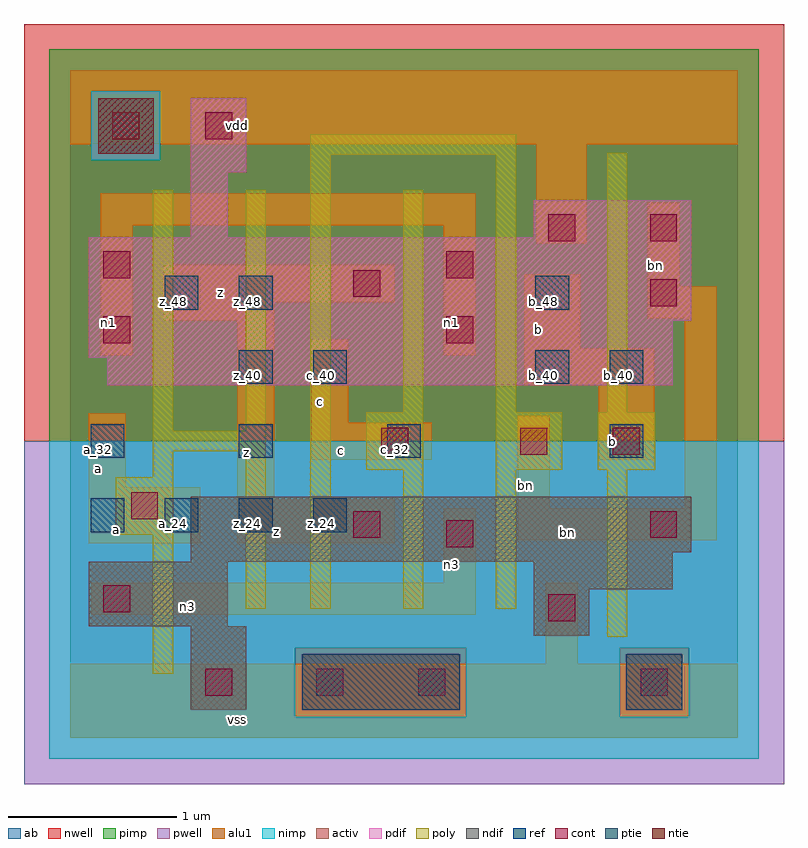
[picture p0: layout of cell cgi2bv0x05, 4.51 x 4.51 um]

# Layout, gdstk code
import gdstk
lib = gdstk.Library(unit=1e-6, precision=2.5e-09)
def R(c, l, rs):  # rectangles x0, y0, x1, y1
    for r in rs: c.add(gdstk.rectangle(r[:2], r[2:], *l))
def A(c, l, x, y, w, h, nx, ny, dx, dy):  # array of equal rectangles
    R(c, l, [(x+i*dx, y+j*dy, x+i*dx+w, y+j*dy+h) for i in range(nx) for j in range(ny)])
ndif = (3, 0)
pdif = (4, 0)
ntie = (5, 0)
ptie = (6, 0)
ref = (24, 0)
cont = (25, 0)
pwell = (41, 0)
nwell = (42, 0)
activ = (43, 0)
pimp = (44, 0)
nimp = (45, 0)
poly = (46, 0)
alu1 = (49, 0)
ab = (63, 0)

cgi2bv0x05 = lib.new_cell('cgi2bv0x05')
R(cgi2bv0x05, ndif, [(0.715,0.165,1.045,0.66), (2.75,0.605,3.08,0.88), (0.11,0.66,0.935,1.045), (2.75,0.88,3.575,1.045), (0.715,1.045,3.575,1.1), (0.715,1.1,3.685,1.43)])
R(cgi2bv0x05, pdif, [(0.22,2.09,3.575,2.255), (0.11,2.255,3.575,2.475), (0.11,2.475,3.685,2.97), (0.715,2.97,0.935,3.355), (2.75,2.97,3.685,3.19), (0.715,3.355,1.045,3.795)])
R(cgi2bv0x05, ntie, [(0.165,3.465,0.495,3.795)])
R(cgi2bv0x05, ptie, [(1.375,0.165,2.31,0.495), (3.3,0.165,3.63,0.495)])
A(cgi2bv0x05, ref, 0.12, 1.22, 0.2, 0.2, 4, 1, 0.44, 0)
A(cgi2bv0x05, ref, 0.12, 1.66, 0.2, 0.2, 3, 1, 0.88, 0)
R(cgi2bv0x05, ref, [(3.2,1.66,3.4,1.86), (1,2.1,1.2,2.3), (1.44,2.1,1.64,2.3), (2.76,2.1,2.96,2.3), (3.2,2.1,3.4,2.3), (0.56,2.54,0.76,2.74), (1,2.54,1.2,2.74), (2.76,2.54,2.96,2.74)])
R(cgi2bv0x05, cont, [(0.8,0.25,0.96,0.41), (1.46,0.25,1.62,0.41), (2.065,0.25,2.225,0.41), (3.385,0.25,3.545,0.41), (2.835,0.69,2.995,0.85), (0.195,0.745,0.355,0.905), (2.23,1.13,2.39,1.29), (1.68,1.185,1.84,1.345), (3.44,1.185,3.6,1.345), (0.36,1.295,0.52,1.455), (1.845,1.68,2.005,1.84), (2.67,1.68,2.83,1.84), (3.22,1.68,3.38,1.84), (0.195,2.34,0.355,2.5), (2.23,2.34,2.39,2.5), (3.44,2.56,3.6,2.72), (1.68,2.615,1.84,2.775), (0.195,2.725,0.355,2.885), (2.23,2.725,2.39,2.885), (2.835,2.945,2.995,3.105), (3.44,2.945,3.6,3.105), (0.25,3.55,0.41,3.71), (0.8,3.55,0.96,3.71)])
R(cgi2bv0x05, pwell, [(-0.275,-0.275,4.235,1.76)])
R(cgi2bv0x05, nwell, [(-0.275,1.76,4.235,4.235)])
R(cgi2bv0x05, activ, [(0.715,0.165,1.045,0.66), (1.375,0.165,2.31,0.495), (3.3,0.165,3.63,0.495), (2.75,0.605,3.08,0.88), (0.11,0.66,0.935,1.045), (2.75,0.88,3.575,1.045), (0.715,1.045,3.575,1.1), (0.715,1.1,3.685,1.43), (0.22,2.09,3.575,2.255), (0.11,2.255,3.575,2.475), (0.11,2.475,3.685,2.97), (0.715,2.97,0.935,3.355), (2.75,2.97,3.685,3.19), (0.715,3.355,1.045,3.795), (0.165,3.465,0.495,3.795)])
R(cgi2bv0x05, pimp, [(1.335,0.125,2.35,0.535), (3.26,0.125,3.67,0.535), (-0.125,1.76,4.085,3.425), (-0.125,3.425,0.125,3.835), (0.535,3.425,4.085,3.835), (-0.125,3.835,4.085,4.085)])
R(cgi2bv0x05, nimp, [(-0.125,-0.125,4.085,0.125), (-0.125,0.125,1.335,0.535), (2.35,0.125,3.26,0.535), (3.67,0.125,4.085,0.535), (-0.125,0.535,4.085,1.76), (0.125,3.425,0.535,3.835)])
R(cgi2bv0x05, poly, [(0.49,0.38,0.61,1.205), (3.185,0.6,3.305,1.59), (1.04,0.765,1.16,1.7), (1.425,0.765,1.545,3.46), (1.975,0.765,2.095,1.59), (2.525,0.765,2.645,1.59), (0.27,1.205,0.61,1.545), (0.49,1.545,0.61,1.7), (1.755,1.59,2.095,1.93), (2.525,1.59,2.92,1.93), (3.13,1.59,3.47,1.93), (0.49,1.7,1.16,1.82), (0.49,1.82,0.61,3.25), (1.04,1.82,1.16,3.25), (1.975,1.93,2.095,3.25), (2.525,1.93,2.645,3.46), (3.185,1.93,3.305,3.47), (1.425,3.46,2.645,3.58)])
R(cgi2bv0x05, alu1, [(0,0,3.96,0.44), (2.82,0.44,3.01,0.92), (0.125,0.73,2.405,0.92), (2.215,0.92,2.405,1.36), (0.11,1.155,0.77,1.485), (0.99,1.155,1.925,1.43), (2.655,1.17,3.835,1.36), (2.655,1.36,2.845,1.91), (3.645,1.36,3.835,2.49), (0.99,1.43,1.21,2.475), (0.11,1.485,0.33,1.925), (1.43,1.65,2.145,1.87), (3.135,1.65,3.465,2.09), (1.43,1.87,1.65,2.365), (2.695,2.09,3.465,2.31), (0.18,2.27,0.37,3.04), (2.215,2.27,2.405,3.04), (2.695,2.31,3.025,2.75), (0.55,2.475,1.21,2.585), (3.425,2.49,3.835,2.68), (0.55,2.585,1.925,2.805), (3.425,2.68,3.615,3.175), (2.765,2.93,3.065,3.52), (0.18,3.04,2.405,3.23), (0,3.52,3.96,3.96)])
R(cgi2bv0x05, ab, [(0,0,3.96,3.96)])
cgi2bv0x05.add(gdstk.Label('vss', (0.99,0.11), layer=49, texttype=0))
cgi2bv0x05.add(gdstk.Label('n3', (0.695,0.7775), layer=49, texttype=0))
cgi2bv0x05.add(gdstk.Label('bn', (2.95,1.2175), layer=49, texttype=0))
cgi2bv0x05.add(gdstk.Label('n3', (2.2625,1.03), layer=49, texttype=0))
cgi2bv0x05.add(gdstk.Label('b', (3.2175,1.76), layer=49, texttype=0))
cgi2bv0x05.add(gdstk.Label('bn', (2.7025,1.4975), layer=49, texttype=0))
cgi2bv0x05.add(gdstk.Label('z', (1.2225,1.2225), layer=49, texttype=0))
cgi2bv0x05.add(gdstk.Label('c', (1.6075,1.705), layer=49, texttype=0))
cgi2bv0x05.add(gdstk.Label('bn', (3.4725,2.8025), layer=49, texttype=0))
cgi2bv0x05.add(gdstk.Label('b', (2.7775,2.42), layer=49, texttype=0))
cgi2bv0x05.add(gdstk.Label('n1', (2.2625,2.4625), layer=49, texttype=0))
cgi2bv0x05.add(gdstk.Label('c', (1.485,1.9925), layer=49, texttype=0))
cgi2bv0x05.add(gdstk.Label('z', (1.045,1.69), layer=49, texttype=0))
cgi2bv0x05.add(gdstk.Label('a', (0.275,1.2375), layer=49, texttype=0))
cgi2bv0x05.add(gdstk.Label('a', (0.165,1.595), layer=49, texttype=0))
cgi2bv0x05.add(gdstk.Label('z', (0.8925,2.64), layer=49, texttype=0))
cgi2bv0x05.add(gdstk.Label('n1', (0.2275,2.4625), layer=49, texttype=0))
cgi2bv0x05.add(gdstk.Label('vdd', (0.99,3.63), layer=49, texttype=0))
cgi2bv0x05.add(gdstk.Label('b_40', (2.81,2.15), layer=24, texttype=0))
cgi2bv0x05.add(gdstk.Label('a_24', (0.61,1.27), layer=24, texttype=0))
cgi2bv0x05.add(gdstk.Label('z_48', (0.61,2.59), layer=24, texttype=0))
cgi2bv0x05.add(gdstk.Label('z_24', (1.05,1.27), layer=24, texttype=0))
cgi2bv0x05.add(gdstk.Label('z_32', (1.05,1.71), layer=24, texttype=0))
cgi2bv0x05.add(gdstk.Label('z_40', (1.05,2.15), layer=24, texttype=0))
cgi2bv0x05.add(gdstk.Label('z_48', (1.05,2.59), layer=24, texttype=0))
cgi2bv0x05.add(gdstk.Label('z_24', (1.49,1.27), layer=24, texttype=0))
cgi2bv0x05.add(gdstk.Label('c_40', (1.49,2.15), layer=24, texttype=0))
cgi2bv0x05.add(gdstk.Label('c_32', (1.93,1.71), layer=24, texttype=0))
cgi2bv0x05.add(gdstk.Label('a_24', (0.17,1.27), layer=24, texttype=0))
cgi2bv0x05.add(gdstk.Label('a_32', (0.17,1.71), layer=24, texttype=0))
cgi2bv0x05.add(gdstk.Label('b_48', (2.81,2.59), layer=24, texttype=0))
cgi2bv0x05.add(gdstk.Label('b_32', (3.25,1.71), layer=24, texttype=0))
cgi2bv0x05.add(gdstk.Label('b_40', (3.25,2.15), layer=24, texttype=0))

lib.write_gds('cgi2bv0x05.gds')
